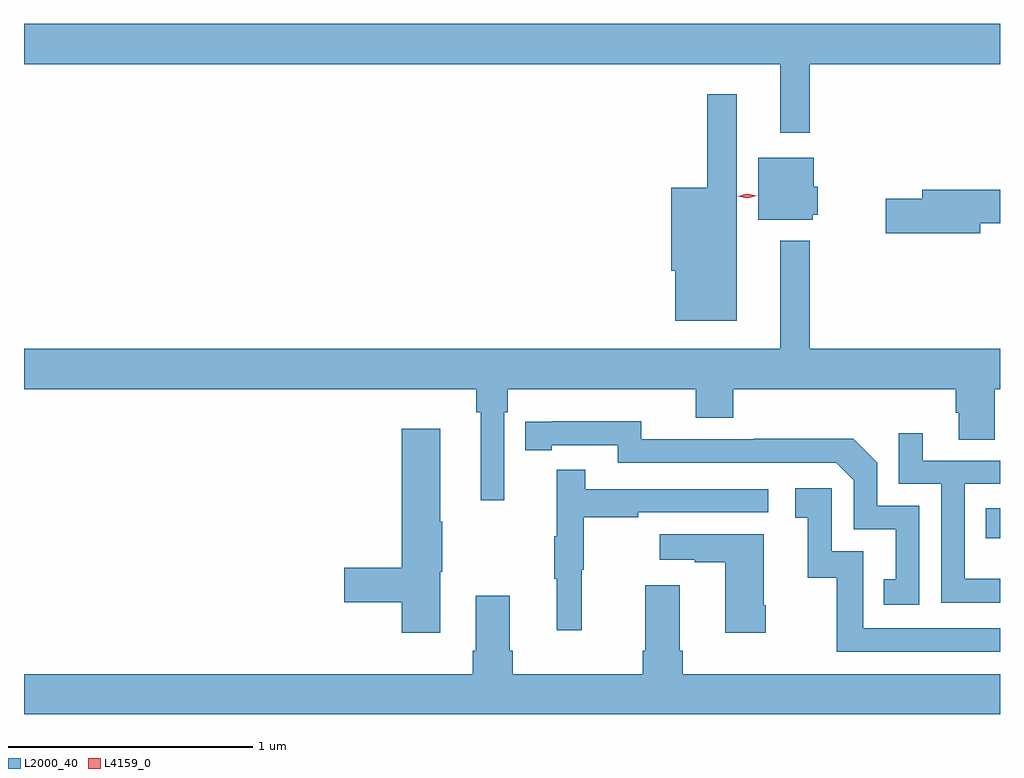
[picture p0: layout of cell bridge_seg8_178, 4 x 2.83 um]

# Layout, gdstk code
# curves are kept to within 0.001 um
import gdstk
lib = gdstk.Library(unit=1e-6, precision=1e-09)
def R(c, l, rs):  # rectangles x0, y0, x1, y1
    for r in rs: c.add(gdstk.rectangle(r[:2], r[2:], *l))
def P(c, l, *ps):  # polygons
    for p in ps: c.add(gdstk.Polygon(p, *l))
L2000_40 = (2000, 40)
L4159_0 = (4159, 0)

bridge_seg8_178 = lib.new_cell('bridge_seg8_178')
R(bridge_seg8_178, L2000_40, [(433.921,1107.897,433.98,1108.02)])
P(bridge_seg8_178, L2000_40, [(433.201,1109.84),(433.98,1109.84),(433.98,1110.004),(429.98,1110.004),(429.98,1109.84),(433.079,1109.84),(433.079,1109.559),(433.201,1109.559)],
  [(432.901,1109.716),(432.78,1109.716),(432.78,1109.332),(432.632,1109.332),(432.632,1108.992),(432.65,1108.992),(432.65,1108.787),(432.901,1108.787)],
  [(433.212,1109.223),(433.234,1109.223),(433.234,1109.337),(433.216,1109.337),(433.216,1109.455),(432.989,1109.455),(432.989,1109.201),(433.212,1109.201)],
  [(433.9,1109.188),(433.98,1109.188),(433.98,1109.324),(433.661,1109.324),(433.661,1109.288),(433.512,1109.288),(433.512,1109.146),(433.9,1109.146)],
  [(431.949,1108.412),(431.963,1108.412),(431.963,1108.508),(432.734,1108.508),(432.734,1108.391),(432.887,1108.391),(432.887,1108.508),(433.799,1108.508),(433.799,1108.41),(433.811,1108.41),(433.811,1108.3),(433.959,1108.3),(433.959,1108.508),(433.98,1108.508),(433.98,1108.672),(433.201,1108.672),(433.201,1109.116),(433.079,1109.116),(433.079,1108.672),(429.98,1108.672),(429.98,1108.508),(431.833,1108.508),(431.833,1108.412),(431.852,1108.412),(431.852,1108.053),(431.949,1108.053)],
  [(433.65,1108.029),(433.476,1108.029),(433.476,1108.206),(433.378,1108.304),(432.97,1108.304),(432.97,1108.302),(432.51,1108.302),(432.51,1108.375),(432.034,1108.374),(432.034,1108.258),(432.142,1108.258),(432.142,1108.278),(432.414,1108.278),(432.414,1108.206),(433.308,1108.206),(433.38,1108.134),(433.38,1107.933),(433.553,1107.933),(433.553,1107.729),(433.504,1107.729),(433.504,1107.624),(433.65,1107.624)],
  [(431.686,1107.759),(431.694,1107.759),(431.694,1107.965),(431.686,1107.965),(431.686,1108.345),(431.528,1108.345),(431.528,1107.776),(431.292,1107.776),(431.292,1107.634),(431.528,1107.634),(431.528,1107.51),(431.686,1107.51)],
  [(433.98,1107.73),(433.836,1107.73),(433.836,1108.119),(433.98,1108.119),(433.98,1108.215),(433.663,1108.215),(433.663,1108.327),(433.566,1108.327),(433.566,1108.119),(433.74,1108.119),(433.74,1107.633),(433.98,1107.633)],
  [(432.266,1107.768),(432.274,1107.768),(432.274,1107.982),(432.497,1107.982),(432.497,1108.002),(433.03,1108.002),(433.03,1108.098),(432.281,1108.098),(432.281,1108.177),(432.164,1108.177),(432.164,1107.905),(432.153,1107.905),(432.153,1107.731),(432.164,1107.731),(432.164,1107.519),(432.266,1107.519)],
  [(433.98,1107.528),(433.419,1107.528),(433.419,1107.843),(433.29,1107.843),(433.29,1108.102),(433.14,1108.102),(433.14,1107.981),(433.193,1107.981),(433.193,1107.735),(433.311,1107.735),(433.311,1107.432),(433.98,1107.432)],
  [(433.02,1107.622),(433.012,1107.622),(433.012,1107.913),(432.585,1107.913),(432.585,1107.809),(432.728,1107.809),(432.728,1107.799),(432.854,1107.799),(432.854,1107.51),(433.02,1107.51)],
  [(433.98,1107.34),(432.68,1107.34),(432.68,1107.436),(432.667,1107.436),(432.667,1107.703),(432.527,1107.703),(432.527,1107.436),(432.515,1107.436),(432.515,1107.34),(431.984,1107.34),(431.984,1107.436),(431.971,1107.436),(431.971,1107.661),(431.831,1107.661),(431.831,1107.436),(431.819,1107.436),(431.819,1107.34),(429.98,1107.34),(429.98,1107.176),(433.98,1107.176)])
P(bridge_seg8_178, L4159_0, [(432.945,1109.289),(432.906,1109.297),(432.906,1109.298),(432.906,1109.298),(432.944,1109.309),(432.983,1109.301),(432.983,1109.301),(432.983,1109.3)])

lib.write_gds('bridge_seg8_178.gds')
